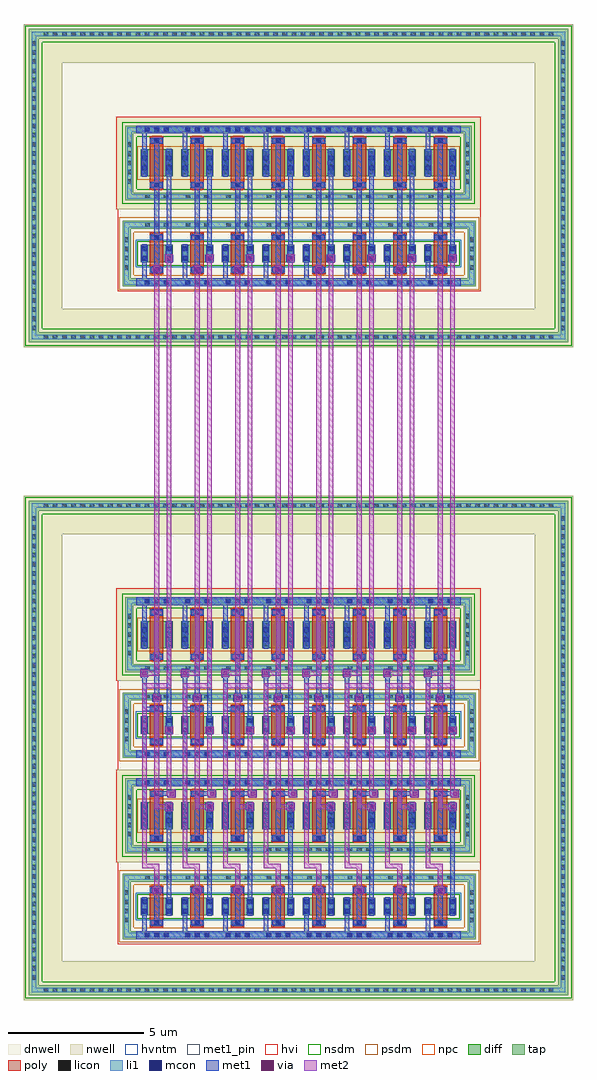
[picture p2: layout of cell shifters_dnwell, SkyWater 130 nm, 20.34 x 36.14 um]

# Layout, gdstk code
import gdstk
lib = gdstk.Library(unit=1e-6, precision=1e-09)
def R(c, l, rs):  # rectangles x0, y0, x1, y1
    for r in rs: c.add(gdstk.rectangle(r[:2], r[2:], *l))
def A(c, l, x, y, w, h, nx, ny, dx, dy):  # array of equal rectangles
    R(c, l, [(x+i*dx, y+j*dy, x+i*dx+w, y+j*dy+h) for i in range(nx) for j in range(ny)])
dnwell = (64, 18)
nwell = (64, 20)
diff = (65, 20)
tap = (65, 44)
poly = (66, 20)
licon = (66, 44)
li1 = (67, 20)
mcon = (67, 44)
met1_pin = (68, 16)
met1 = (68, 20)
via = (68, 44)
met2 = (69, 20)
hvi = (75, 20)
nsdm = (93, 44)
psdm = (94, 20)
npc = (95, 20)
hvntm = (125, 20)

transistor_pair_bus8 = lib.new_cell('transistor_pair_bus8')
R(transistor_pair_bus8, nwell, [(-0.3,3.03,13.18,6.46)])
A(transistor_pair_bus8, diff, 0.59, 1.065, 1.2, 0.65, 8, 1, 1.5, 0)
A(transistor_pair_bus8, diff, 0.59, 4.245, 1.2, 1, 8, 1, 1.5, 0)
R(transistor_pair_bus8, tap, [(-0.07,0.18,13,0.47), (-0.07,0.47,0.22,2.31), (12.71,0.47,13,2.31), (-0.07,2.31,13,2.6), (0.03,3.36,12.85,3.65), (0.03,3.65,0.32,5.84), (12.56,3.65,12.85,5.84), (0.03,5.84,12.85,6.13)])
A(transistor_pair_bus8, poly, 0.94, 0.625, 0.5, 1.53, 8, 1, 1.5, 0)
A(transistor_pair_bus8, poly, 0.94, 3.76, 0.5, 1.97, 8, 1, 1.5, 0)
A(transistor_pair_bus8, licon, 0.765, 0.24, 0.17, 0.17, 3, 2, 0.34, 2.13)
A(transistor_pair_bus8, licon, 2.265, 0.24, 0.17, 0.17, 3, 2, 0.34, 2.13)
A(transistor_pair_bus8, licon, 3.765, 0.24, 0.17, 0.17, 3, 2, 0.34, 2.13)
A(transistor_pair_bus8, licon, 5.265, 0.24, 0.17, 0.17, 3, 2, 0.34, 2.13)
A(transistor_pair_bus8, licon, 6.765, 0.24, 0.17, 0.17, 3, 2, 0.34, 2.13)
A(transistor_pair_bus8, licon, 8.265, 0.24, 0.17, 0.17, 3, 2, 0.34, 2.13)
A(transistor_pair_bus8, licon, 9.765, 0.24, 0.17, 0.17, 3, 2, 0.34, 2.13)
A(transistor_pair_bus8, licon, 11.265, 0.24, 0.17, 0.17, 3, 2, 0.34, 2.13)
A(transistor_pair_bus8, licon, 1.105, 0.705, 0.17, 0.17, 8, 2, 1.5, 1.2)
A(transistor_pair_bus8, licon, -0.01, 0.795, 0.17, 0.17, 1, 4, 0, 0.34)
A(transistor_pair_bus8, licon, 12.77, 0.795, 0.17, 0.17, 1, 4, 0, 0.34)
A(transistor_pair_bus8, licon, 0.765, 3.42, 0.17, 0.17, 3, 2, 0.34, 2.48)
A(transistor_pair_bus8, licon, 2.265, 3.42, 0.17, 0.17, 3, 2, 0.34, 2.48)
A(transistor_pair_bus8, licon, 3.765, 3.42, 0.17, 0.17, 3, 2, 0.34, 2.48)
A(transistor_pair_bus8, licon, 5.265, 3.42, 0.17, 0.17, 3, 2, 0.34, 2.48)
A(transistor_pair_bus8, licon, 6.765, 3.42, 0.17, 0.17, 3, 2, 0.34, 2.48)
A(transistor_pair_bus8, licon, 8.265, 3.42, 0.17, 0.17, 3, 2, 0.34, 2.48)
A(transistor_pair_bus8, licon, 9.765, 3.42, 0.17, 0.17, 3, 2, 0.34, 2.48)
A(transistor_pair_bus8, licon, 11.265, 3.42, 0.17, 0.17, 3, 2, 0.34, 2.48)
A(transistor_pair_bus8, licon, 1.105, 3.84, 0.17, 0.17, 8, 2, 1.5, 1.64)
A(transistor_pair_bus8, licon, 0.09, 3.98, 0.17, 0.17, 1, 5, 0, 0.34)
A(transistor_pair_bus8, licon, 12.62, 3.98, 0.17, 0.17, 1, 5, 0, 0.34)
A(transistor_pair_bus8, licon, 0.65, 4.32, 0.17, 0.17, 1, 3, 0, 0.34)
A(transistor_pair_bus8, licon, 1.56, 4.32, 0.17, 0.17, 1, 3, 0, 0.34)
A(transistor_pair_bus8, licon, 2.15, 4.32, 0.17, 0.17, 1, 3, 0, 0.34)
A(transistor_pair_bus8, licon, 3.06, 4.32, 0.17, 0.17, 1, 3, 0, 0.34)
A(transistor_pair_bus8, licon, 3.65, 4.32, 0.17, 0.17, 1, 3, 0, 0.34)
A(transistor_pair_bus8, licon, 4.56, 4.32, 0.17, 0.17, 1, 3, 0, 0.34)
A(transistor_pair_bus8, licon, 5.15, 4.32, 0.17, 0.17, 1, 3, 0, 0.34)
A(transistor_pair_bus8, licon, 6.06, 4.32, 0.17, 0.17, 1, 3, 0, 0.34)
A(transistor_pair_bus8, licon, 6.65, 4.32, 0.17, 0.17, 1, 3, 0, 0.34)
A(transistor_pair_bus8, licon, 7.56, 4.32, 0.17, 0.17, 1, 3, 0, 0.34)
A(transistor_pair_bus8, licon, 8.15, 4.32, 0.17, 0.17, 1, 3, 0, 0.34)
A(transistor_pair_bus8, licon, 9.06, 4.32, 0.17, 0.17, 1, 3, 0, 0.34)
A(transistor_pair_bus8, licon, 9.65, 4.32, 0.17, 0.17, 1, 3, 0, 0.34)
A(transistor_pair_bus8, licon, 10.56, 4.32, 0.17, 0.17, 1, 3, 0, 0.34)
A(transistor_pair_bus8, licon, 11.15, 4.32, 0.17, 0.17, 1, 3, 0, 0.34)
A(transistor_pair_bus8, licon, 12.06, 4.32, 0.17, 0.17, 1, 3, 0, 0.34)
R(transistor_pair_bus8, licon, [(0.65,1.135,0.82,1.305), (1.56,1.135,1.73,1.305), (2.15,1.135,2.32,1.305), (3.06,1.135,3.23,1.305), (3.65,1.135,3.82,1.305), (4.56,1.135,4.73,1.305), (5.15,1.135,5.32,1.305), (6.06,1.135,6.23,1.305), (6.65,1.135,6.82,1.305), (7.56,1.135,7.73,1.305), (8.15,1.135,8.32,1.305), (9.06,1.135,9.23,1.305), (9.65,1.135,9.82,1.305), (10.56,1.135,10.73,1.305), (11.15,1.135,11.32,1.305), (12.06,1.135,12.23,1.305), (0.65,1.475,0.82,1.645), (1.56,1.475,1.73,1.645), (2.15,1.475,2.32,1.645), (3.06,1.475,3.23,1.645), (3.65,1.475,3.82,1.645), (4.56,1.475,4.73,1.645), (5.15,1.475,5.32,1.645), (6.06,1.475,6.23,1.645), (6.65,1.475,6.82,1.645), (7.56,1.475,7.73,1.645), (8.15,1.475,8.32,1.645), (9.06,1.475,9.23,1.645), (9.65,1.475,9.82,1.645), (10.56,1.475,10.73,1.645), (11.15,1.475,11.32,1.645), (12.06,1.475,12.23,1.645)])
A(transistor_pair_bus8, li1, 0.94, 0.705, 0.5, 0.17, 8, 2, 1.5, 1.2)
A(transistor_pair_bus8, li1, 0.94, 3.84, 0.5, 0.17, 8, 2, 1.5, 1.64)
R(transistor_pair_bus8, li1, [(-0.01,0.24,12.94,0.41), (-0.01,0.41,0.16,2.37), (12.77,0.41,12.94,2.37), (0.65,1.045,0.82,1.735), (1.56,1.045,1.73,1.735), (2.15,1.045,2.32,1.735), (3.06,1.045,3.23,1.735), (3.65,1.045,3.82,1.735), (4.56,1.045,4.73,1.735), (5.15,1.045,5.32,1.735), (6.06,1.045,6.23,1.735), (6.65,1.045,6.82,1.735), (7.56,1.045,7.73,1.735), (8.15,1.045,8.32,1.735), (9.06,1.045,9.23,1.735), (9.65,1.045,9.82,1.735), (10.56,1.045,10.73,1.735), (11.15,1.045,11.32,1.735), (12.06,1.045,12.23,1.735), (-0.01,2.37,12.94,2.54), (0.09,3.42,12.79,3.59), (0.09,3.59,0.26,5.9), (12.62,3.59,12.79,5.9), (0.65,4.225,0.82,5.265), (1.56,4.225,1.73,5.265), (2.15,4.225,2.32,5.265), (3.06,4.225,3.23,5.265), (3.65,4.225,3.82,5.265), (4.56,4.225,4.73,5.265), (5.15,4.225,5.32,5.265), (6.06,4.225,6.23,5.265), (6.65,4.225,6.82,5.265), (7.56,4.225,7.73,5.265), (8.15,4.225,8.32,5.265), (9.06,4.225,9.23,5.265), (9.65,4.225,9.82,5.265), (10.56,4.225,10.73,5.265), (11.15,4.225,11.32,5.265), (12.06,4.225,12.23,5.265), (0.09,5.9,12.79,6.07)])
A(transistor_pair_bus8, mcon, 0.745, 0.24, 0.17, 0.17, 3, 2, 0.36, 5.66)
A(transistor_pair_bus8, mcon, 2.245, 0.24, 0.17, 0.17, 3, 2, 0.36, 5.66)
A(transistor_pair_bus8, mcon, 3.745, 0.24, 0.17, 0.17, 3, 2, 0.36, 5.66)
A(transistor_pair_bus8, mcon, 5.245, 0.24, 0.17, 0.17, 3, 2, 0.36, 5.66)
A(transistor_pair_bus8, mcon, 6.745, 0.24, 0.17, 0.17, 3, 2, 0.36, 5.66)
A(transistor_pair_bus8, mcon, 8.245, 0.24, 0.17, 0.17, 3, 2, 0.36, 5.66)
A(transistor_pair_bus8, mcon, 9.745, 0.24, 0.17, 0.17, 3, 2, 0.36, 5.66)
A(transistor_pair_bus8, mcon, 11.245, 0.24, 0.17, 0.17, 3, 2, 0.36, 5.66)
A(transistor_pair_bus8, mcon, 1.105, 0.705, 0.17, 0.17, 8, 2, 1.5, 1.2)
A(transistor_pair_bus8, mcon, 1.105, 3.84, 0.17, 0.17, 8, 2, 1.5, 1.64)
R(transistor_pair_bus8, mcon, [(0.65,1.125,0.82,1.295), (1.56,1.125,1.73,1.295), (2.15,1.125,2.32,1.295), (3.06,1.125,3.23,1.295), (3.65,1.125,3.82,1.295), (4.56,1.125,4.73,1.295), (5.15,1.125,5.32,1.295), (6.06,1.125,6.23,1.295), (6.65,1.125,6.82,1.295), (7.56,1.125,7.73,1.295), (8.15,1.125,8.32,1.295), (9.06,1.125,9.23,1.295), (9.65,1.125,9.82,1.295), (10.56,1.125,10.73,1.295), (11.15,1.125,11.32,1.295), (12.06,1.125,12.23,1.295), (0.65,1.485,0.82,1.655), (1.56,1.485,1.73,1.655), (2.15,1.485,2.32,1.655), (3.06,1.485,3.23,1.655), (3.65,1.485,3.82,1.655), (4.56,1.485,4.73,1.655), (5.15,1.485,5.32,1.655), (6.06,1.485,6.23,1.655), (6.65,1.485,6.82,1.655), (7.56,1.485,7.73,1.655), (8.15,1.485,8.32,1.655), (9.06,1.485,9.23,1.655), (9.65,1.485,9.82,1.655), (10.56,1.485,10.73,1.655), (11.15,1.485,11.32,1.655), (12.06,1.485,12.23,1.655), (0.65,4.48,0.82,4.65), (1.56,4.48,1.73,4.65), (2.15,4.48,2.32,4.65), (3.06,4.48,3.23,4.65), (3.65,4.48,3.82,4.65), (4.56,4.48,4.73,4.65), (5.15,4.48,5.32,4.65), (6.06,4.48,6.23,4.65), (6.65,4.48,6.82,4.65), (7.56,4.48,7.73,4.65), (8.15,4.48,8.32,4.65), (9.06,4.48,9.23,4.65), (9.65,4.48,9.82,4.65), (10.56,4.48,10.73,4.65), (11.15,4.48,11.32,4.65), (12.06,4.48,12.23,4.65), (0.65,4.84,0.82,5.01), (1.56,4.84,1.73,5.01), (2.15,4.84,2.32,5.01), (3.06,4.84,3.23,5.01), (3.65,4.84,3.82,5.01), (4.56,4.84,4.73,5.01), (5.15,4.84,5.32,5.01), (6.06,4.84,6.23,5.01), (6.65,4.84,6.82,5.01), (7.56,4.84,7.73,5.01), (8.15,4.84,8.32,5.01), (9.06,4.84,9.23,5.01), (9.65,4.84,9.82,5.01), (10.56,4.84,10.73,5.01), (11.15,4.84,11.32,5.01), (12.06,4.84,12.23,5.01)])
R(transistor_pair_bus8, met1_pin, [(0.44,0.18,12.44,0.47), (0.44,5.84,12.44,6.13)])
A(transistor_pair_bus8, met1, 0.96, 0.675, 0.46, 0.23, 8, 2, 1.5, 1.2)
A(transistor_pair_bus8, met1, 1.105, 0.905, 0.17, 0.97, 8, 1, 1.5, 0)
A(transistor_pair_bus8, met1, 0.96, 3.81, 0.46, 0.23, 8, 2, 1.5, 1.64)
A(transistor_pair_bus8, met1, 1.105, 4.04, 0.17, 1.41, 8, 1, 1.5, 0)
R(transistor_pair_bus8, met1, [(0.44,0.18,12.44,0.47), (0.65,1.045,0.82,1.065), (1.56,1.045,1.73,1.065), (2.15,1.045,2.32,1.065), (3.06,1.045,3.23,1.065), (3.65,1.045,3.82,1.065), (4.56,1.045,4.73,1.065), (5.15,1.045,5.32,1.065), (6.06,1.045,6.23,1.065), (6.65,1.045,6.82,1.065), (7.56,1.045,7.73,1.065), (8.15,1.045,8.32,1.065), (9.06,1.045,9.23,1.065), (9.65,1.045,9.82,1.065), (10.56,1.045,10.73,1.065), (11.15,1.045,11.32,1.065), (12.06,1.045,12.23,1.065), (0.62,1.065,0.85,1.715), (1.53,1.065,1.76,1.715), (2.12,1.065,2.35,1.715), (3.03,1.065,3.26,1.715), (3.62,1.065,3.85,1.715), (4.53,1.065,4.76,1.715), (5.12,1.065,5.35,1.715), (6.03,1.065,6.26,1.715), (6.62,1.065,6.85,1.715), (7.53,1.065,7.76,1.715), (8.12,1.065,8.35,1.715), (9.03,1.065,9.26,1.715), (9.62,1.065,9.85,1.715), (10.53,1.065,10.76,1.715), (11.12,1.065,11.35,1.715), (12.03,1.065,12.26,1.715), (0.65,1.715,0.82,1.735), (1.56,1.715,1.73,1.735), (2.15,1.715,2.32,1.735), (3.06,1.715,3.23,1.735), (3.65,1.715,3.82,1.735), (4.56,1.715,4.73,1.735), (5.15,1.715,5.32,1.735), (6.06,1.715,6.23,1.735), (6.65,1.715,6.82,1.735), (7.56,1.715,7.73,1.735), (8.15,1.715,8.32,1.735), (9.06,1.715,9.23,1.735), (9.65,1.715,9.82,1.735), (10.56,1.715,10.73,1.735), (11.15,1.715,11.32,1.735), (12.06,1.715,12.23,1.735), (0.65,4.225,0.82,4.245), (1.56,4.225,1.73,4.245), (2.15,4.225,2.32,4.245), (3.06,4.225,3.23,4.245), (3.65,4.225,3.82,4.245), (4.56,4.225,4.73,4.245), (5.15,4.225,5.32,4.245), (6.06,4.225,6.23,4.245), (6.65,4.225,6.82,4.245), (7.56,4.225,7.73,4.245), (8.15,4.225,8.32,4.245), (9.06,4.225,9.23,4.245), (9.65,4.225,9.82,4.245), (10.56,4.225,10.73,4.245), (11.15,4.225,11.32,4.245), (12.06,4.225,12.23,4.245), (0.62,4.245,0.85,5.245), (1.53,4.245,1.76,5.245), (2.12,4.245,2.35,5.245), (3.03,4.245,3.26,5.245), (3.62,4.245,3.85,5.245), (4.53,4.245,4.76,5.245), (5.12,4.245,5.35,5.245), (6.03,4.245,6.26,5.245), (6.62,4.245,6.85,5.245), (7.53,4.245,7.76,5.245), (8.12,4.245,8.35,5.245), (9.03,4.245,9.26,5.245), (9.62,4.245,9.85,5.245), (10.53,4.245,10.76,5.245), (11.12,4.245,11.35,5.245), (12.03,4.245,12.26,5.245), (0.65,5.245,0.82,5.265), (1.56,5.245,1.73,5.265), (2.15,5.245,2.32,5.265), (3.06,5.245,3.23,5.265), (3.65,5.245,3.82,5.265), (4.56,5.245,4.73,5.265), (5.15,5.245,5.32,5.265), (6.06,5.245,6.23,5.265), (6.65,5.245,6.82,5.265), (7.56,5.245,7.73,5.265), (8.15,5.245,8.32,5.265), (9.06,5.245,9.23,5.265), (9.65,5.245,9.82,5.265), (10.56,5.245,10.73,5.265), (11.15,5.245,11.32,5.265), (12.06,5.245,12.23,5.265), (0.44,5.84,12.44,6.13)])
R(transistor_pair_bus8, hvi, [(-0.255,-0.005,13.185,2.785), (-0.255,2.785,13.18,3.03), (-0.3,3.03,13.18,6.46)])
R(transistor_pair_bus8, nsdm, [(0.465,0.94,12.415,1.84), (-0.095,3.235,12.975,3.775), (-0.095,3.775,0.445,5.715), (12.435,3.775,12.975,5.715), (-0.095,5.715,12.975,6.255)])
R(transistor_pair_bus8, psdm, [(-0.195,0.055,13.125,0.595), (-0.195,0.595,0.345,2.185), (12.585,0.595,13.125,2.185), (-0.195,2.185,13.125,2.725), (0.465,4.12,12.415,5.37)])
A(transistor_pair_bus8, npc, 1.005, 0.605, 0.37, 0.37, 8, 2, 1.5, 1.2)
A(transistor_pair_bus8, npc, 1.005, 3.74, 0.37, 0.37, 8, 2, 1.5, 1.64)
R(transistor_pair_bus8, hvntm, [(0.405,0.88,12.475,1.9)])
transistor_pair_bus8.add(gdstk.Label('VDD', (6.44,5.985), layer=68, texttype=5))
transistor_pair_bus8.add(gdstk.Label('VSS', (6.44,0.325), layer=68, texttype=5))

inverter = lib.new_cell('inverter')
R(inverter, met1_pin, [(0.44,0.18,1.94,0.47), (1.105,0.705,1.275,5.65), (1.56,1.045,1.73,5.265), (0.44,5.84,1.94,6.13)])
R(inverter, met1, [(0.44,0.18,1.94,0.47), (0.65,0.47,0.82,1.735), (1.105,0.705,1.275,5.65), (1.56,1.045,1.73,5.265), (0.65,4.225,0.82,5.84), (0.44,5.84,1.94,6.13)])
inverter.add(gdstk.Label('IN', (1.19,3.177), layer=68, texttype=5))
inverter.add(gdstk.Label('OUT', (1.645,3.155), layer=68, texttype=5))
inverter.add(gdstk.Label('VDD', (1.19,5.985), layer=68, texttype=5))
inverter.add(gdstk.Label('VSS', (1.19,0.325), layer=68, texttype=5))

shifter_split = lib.new_cell('shifter_split')
R(shifter_split, met1_pin, [(0.44,0.18,1.94,0.47), (1.56,1.045,1.73,5.265), (0.44,5.84,1.94,6.13), (0.44,6.89,1.94,7.18), (0.44,12.55,1.94,12.84), (0.44,24.355,1.94,24.645), (1.105,24.88,1.275,29.825), (0.44,30.015,1.94,30.305)])
R(shifter_split, met1, [(0.44,0.18,1.94,0.47), (0.65,0.47,0.82,1.735), (1.56,1.045,1.73,4.95), (1.06,1.83,1.32,2.15), (0.65,4.225,0.82,5.84), (1.485,4.95,1.805,5.21), (1.56,5.21,1.73,5.265), (1.58,5.435,1.9,5.48), (1.1,5.48,1.9,5.65), (1.58,5.65,1.9,5.695), (0.44,5.84,1.94,6.13), (0.44,6.89,1.94,7.18), (0.65,7.18,0.82,8.445), (1.56,7.755,1.73,7.76), (1.515,7.76,1.775,8.08), (1.56,8.08,1.73,11.975), (0.65,8.615,1.27,8.785), (0.65,8.785,0.82,9.865), (1.03,8.975,1.35,9.235), (1.105,9.235,1.275,10.475), (0.605,9.865,0.865,10.185), (1.06,10.475,1.32,10.795), (0.65,10.935,0.82,12.55), (0.44,12.55,1.94,12.84), (0.44,24.355,1.94,24.645), (1.03,24.835,1.35,25.095), (1.105,25.095,1.275,29.855), (1.485,25.255,1.805,25.515), (0.44,30.015,1.94,30.305)])
R(shifter_split, via, [(1.115,1.915,1.265,2.065), (1.57,5.005,1.72,5.155), (1.665,5.49,1.815,5.64), (1.57,7.845,1.72,7.995), (1.115,9.03,1.265,9.18), (0.66,9.95,0.81,10.1), (1.115,24.89,1.265,25.04), (1.57,25.31,1.72,25.46)])
R(shifter_split, met2, [(1.03,1.86,1.35,2.12), (1.105,2.12,1.275,2.805), (0.65,2.805,1.275,2.975), (0.65,2.975,0.82,9.475), (1.515,4.92,1.775,4.995), (1.105,4.995,1.775,5.165), (1.105,5.165,1.275,8.945), (1.515,5.165,1.775,5.24), (1.61,5.405,1.87,5.48), (1.56,5.48,1.87,5.725), (1.56,5.725,1.73,7.79), (1.485,7.79,1.805,8.05), (1.06,8.945,1.32,9.265), (0.65,9.475,1.73,9.645), (1.56,9.645,1.73,25.225), (0.575,9.895,0.895,9.94), (0.575,9.94,1.275,10.11), (0.575,10.11,0.895,10.155), (1.105,10.11,1.275,24.805), (1.06,24.805,1.32,25.125), (1.515,25.225,1.775,25.545)])
shifter_split.add(gdstk.Reference(inverter, (0,24.175)))
shifter_split.add(gdstk.Label('IN', (1.19,27.352), layer=68, texttype=5))
shifter_split.add(gdstk.Label('IVDD', (1.19,30.16), layer=68, texttype=5))
shifter_split.add(gdstk.Label('OUT', (1.645,3.155), layer=68, texttype=5))
shifter_split.add(gdstk.Label('OVDD1', (1.19,12.695), layer=68, texttype=5))
shifter_split.add(gdstk.Label('OVDD2', (1.19,5.985), layer=68, texttype=5))
shifter_split.add(gdstk.Label('VSS0', (1.19,24.5), layer=68, texttype=5))
shifter_split.add(gdstk.Label('VSS1', (1.19,7.035), layer=68, texttype=5))
shifter_split.add(gdstk.Label('VSS2', (1.19,0.325), layer=68, texttype=5))

shifters_split = lib.new_cell('shifters_split')
R(shifters_split, hvi, [(-0.255,6.46,13.18,6.705)])
shifters_split.add(gdstk.Reference(transistor_pair_bus8, (0,24.175)))
shifters_split.add(gdstk.Reference(transistor_pair_bus8, (0,6.71)))
shifters_split.add(gdstk.Reference(transistor_pair_bus8, (0,0)))
r = gdstk.Reference(shifter_split, (0,0)); r.repetition = gdstk.Repetition(8, 1, v1=(1.5,0), v2=(0,30.635)); shifters_split.add(r)

shifters_dnwell = lib.new_cell('shifters_dnwell')
R(shifters_dnwell, dnwell, [(-3.03,-1.675,16.51,16.2), (-3.03,22.5,16.51,33.665)])
R(shifters_dnwell, nwell, [(-3.43,-2.075,16.91,-0.645), (-3.43,-0.645,-2,15.17), (15.48,-0.645,16.91,15.17), (-3.43,15.17,16.91,16.6), (-3.43,22.1,16.91,23.53), (-3.43,23.53,-2,32.635), (15.48,23.53,16.91,32.635), (-3.43,32.635,16.91,34.065)])
R(shifters_dnwell, tap, [(-3.245,-1.89,16.725,-1.52), (-3.245,-1.52,-2.875,16.045), (16.355,-1.52,16.725,16.045), (-3.245,16.045,16.725,16.415), (-3.245,22.285,16.725,22.655), (-3.245,22.655,-2.875,33.51), (16.355,22.655,16.725,33.51), (-3.245,33.51,16.725,33.88)])
A(shifters_dnwell, licon, -2.695, -1.79, 0.17, 0.17, 56, 2, 0.34, 17.935)
A(shifters_dnwell, licon, -3.145, -1.325, 0.17, 0.17, 1, 51, 0, 0.34)
A(shifters_dnwell, licon, 16.455, -1.325, 0.17, 0.17, 1, 51, 0, 0.34)
A(shifters_dnwell, licon, -2.695, 22.385, 0.17, 0.17, 56, 2, 0.34, 11.225)
A(shifters_dnwell, licon, -3.145, 22.725, 0.17, 0.17, 1, 32, 0, 0.34)
A(shifters_dnwell, licon, 16.455, 22.725, 0.17, 0.17, 1, 32, 0, 0.34)
R(shifters_dnwell, li1, [(-3.145,-1.79,16.625,-1.62), (-3.145,-1.62,-2.975,16.145), (16.455,-1.62,16.625,16.145), (-3.145,16.145,16.625,16.315), (-3.145,22.385,16.625,22.555), (-3.145,22.555,-2.975,33.61), (16.455,22.555,16.625,33.61), (-3.145,33.61,16.625,33.78)])
R(shifters_dnwell, nsdm, [(-3.37,-2.015,16.85,-1.395), (-3.37,-1.395,-2.75,15.92), (16.23,-1.395,16.85,15.92), (-3.37,15.92,16.85,16.54), (-3.37,22.16,16.85,22.78), (-3.37,22.78,-2.75,33.385), (16.23,22.78,16.85,33.385), (-3.37,33.385,16.85,34.005)])
shifters_dnwell.add(gdstk.Reference(shifters_split, (0.3,0)))

lib.write_gds('shifters_dnwell.gds')
